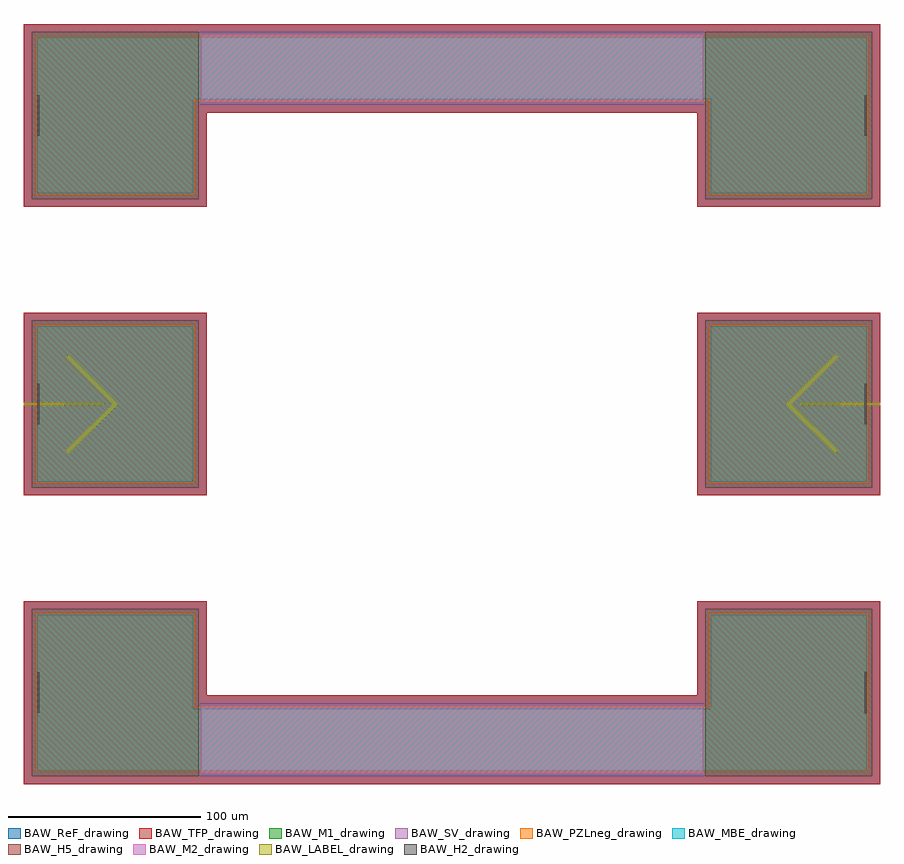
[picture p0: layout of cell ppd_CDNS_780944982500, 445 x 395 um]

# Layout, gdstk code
import gdstk
lib = gdstk.Library(unit=1e-6, precision=1e-09)
def R(c, l, rs):  # rectangles x0, y0, x1, y1
    for r in rs: c.add(gdstk.rectangle(r[:2], r[2:], *l))
def A(c, l, x, y, w, h, nx, ny, dx, dy):  # array of equal rectangles
    R(c, l, [(x+i*dx, y+j*dy, x+i*dx+w, y+j*dy+h) for i in range(nx) for j in range(ny)])
def P(c, l, *ps):  # polygons
    for p in ps: c.add(gdstk.Polygon(p, *l))
BAW_MBE_drawing = (2, 0)
BAW_SV_drawing = (7, 0)
BAW_M1_drawing = (8, 0)
BAW_TFP_drawing = (26, 0)
BAW_ReF_drawing = (33, 0)
BAW_H2_drawing = (40, 0)
BAW_M2_drawing = (81, 0)
BAW_LABEL_drawing = (100, 0)
BAW_H5_drawing = (202, 0)
BAW_PZLneg_drawing = (264, 0)

ppd_cdns_780944982500 = lib.new_cell('ppd_CDNS_780944982500')
A(ppd_cdns_780944982500, BAW_MBE_drawing, -40.5, -190.5, 81, 81, 1, 3, 0, 150)
A(ppd_cdns_780944982500, BAW_MBE_drawing, 309.5, -190.5, 81, 81, 1, 3, 0, 150)
R(ppd_cdns_780944982500, BAW_MBE_drawing, [(40.5,-190.5,309.5,-158.5), (40.5,158.5,309.5,190.5)])
A(ppd_cdns_780944982500, BAW_SV_drawing, -43.5, -193.5, 87, 87, 1, 3, 0, 150)
A(ppd_cdns_780944982500, BAW_SV_drawing, 306.5, -193.5, 87, 87, 1, 3, 0, 150)
R(ppd_cdns_780944982500, BAW_SV_drawing, [(43.5,-193.5,306.5,-155.5), (43.5,155.5,306.5,193.5)])
A(ppd_cdns_780944982500, BAW_M1_drawing, -43.5, -193.5, 87, 87, 1, 3, 0, 150)
A(ppd_cdns_780944982500, BAW_M1_drawing, 306.5, -193.5, 87, 87, 1, 3, 0, 150)
R(ppd_cdns_780944982500, BAW_M1_drawing, [(43.5,-193.5,306.5,-155.5), (43.5,155.5,306.5,193.5)])
A(ppd_cdns_780944982500, BAW_TFP_drawing, -47.5, -197.5, 95, 95, 1, 3, 0, 150)
A(ppd_cdns_780944982500, BAW_TFP_drawing, 302.5, -197.5, 95, 95, 1, 3, 0, 150)
R(ppd_cdns_780944982500, BAW_TFP_drawing, [(39.5,-197.5,310.5,-151.5), (39.5,151.5,310.5,197.5)])
A(ppd_cdns_780944982500, BAW_ReF_drawing, -47.5, -197.5, 95, 95, 1, 3, 0, 150)
A(ppd_cdns_780944982500, BAW_ReF_drawing, 302.5, -197.5, 95, 95, 1, 3, 0, 150)
R(ppd_cdns_780944982500, BAW_ReF_drawing, [(39.5,-197.5,310.5,-151.5), (39.5,151.5,310.5,197.5)])
A(ppd_cdns_780944982500, BAW_H2_drawing, -40.5, -160.5, 1, 21, 1, 3, 0, 150)
A(ppd_cdns_780944982500, BAW_H2_drawing, 389.5, -160.5, 1, 21, 1, 3, 0, 150)
R(ppd_cdns_780944982500, BAW_M2_drawing, [(44.5,-192.5,305.5,-156.5), (44.5,156.5,305.5,192.5)])
P(ppd_cdns_780944982500, BAW_LABEL_drawing, [(356,0.5),(397.5,1),(397.5,-1),(356,-0.5)],
  [(-6,0.5),(-47.5,1),(-47.5,-1),(-6,-0.5)])
A(ppd_cdns_780944982500, BAW_H5_drawing, -43.5, -193.5, 87, 87, 1, 3, 0, 150)
A(ppd_cdns_780944982500, BAW_H5_drawing, 306.5, -193.5, 87, 87, 1, 3, 0, 150)
A(ppd_cdns_780944982500, BAW_H5_drawing, -40.5, -160.5, 1, 21, 1, 3, 0, 150)
A(ppd_cdns_780944982500, BAW_H5_drawing, 389.5, -160.5, 1, 21, 1, 3, 0, 150)
A(ppd_cdns_780944982500, BAW_PZLneg_drawing, -41.5, -191.5, 83, 83, 1, 3, 0, 150)
A(ppd_cdns_780944982500, BAW_PZLneg_drawing, 308.5, -191.5, 83, 83, 1, 3, 0, 150)
R(ppd_cdns_780944982500, BAW_PZLneg_drawing, [(41.5,-191.5,308.5,-157.5), (41.5,157.5,308.5,191.5)])
ppd_cdns_780944982500.add(gdstk.FlexPath([(375,25),(350,0),(375,-25)], 2, ends="flush", simple_path=True, layer=100, datatype=0))  # BAW_LABEL_drawing
ppd_cdns_780944982500.add(gdstk.FlexPath([(-25,25),(0,0),(-25,-25)], 2, ends="flush", simple_path=True, layer=100, datatype=0))  # BAW_LABEL_drawing

lib.write_gds('ppd_CDNS_780944982500.gds')
